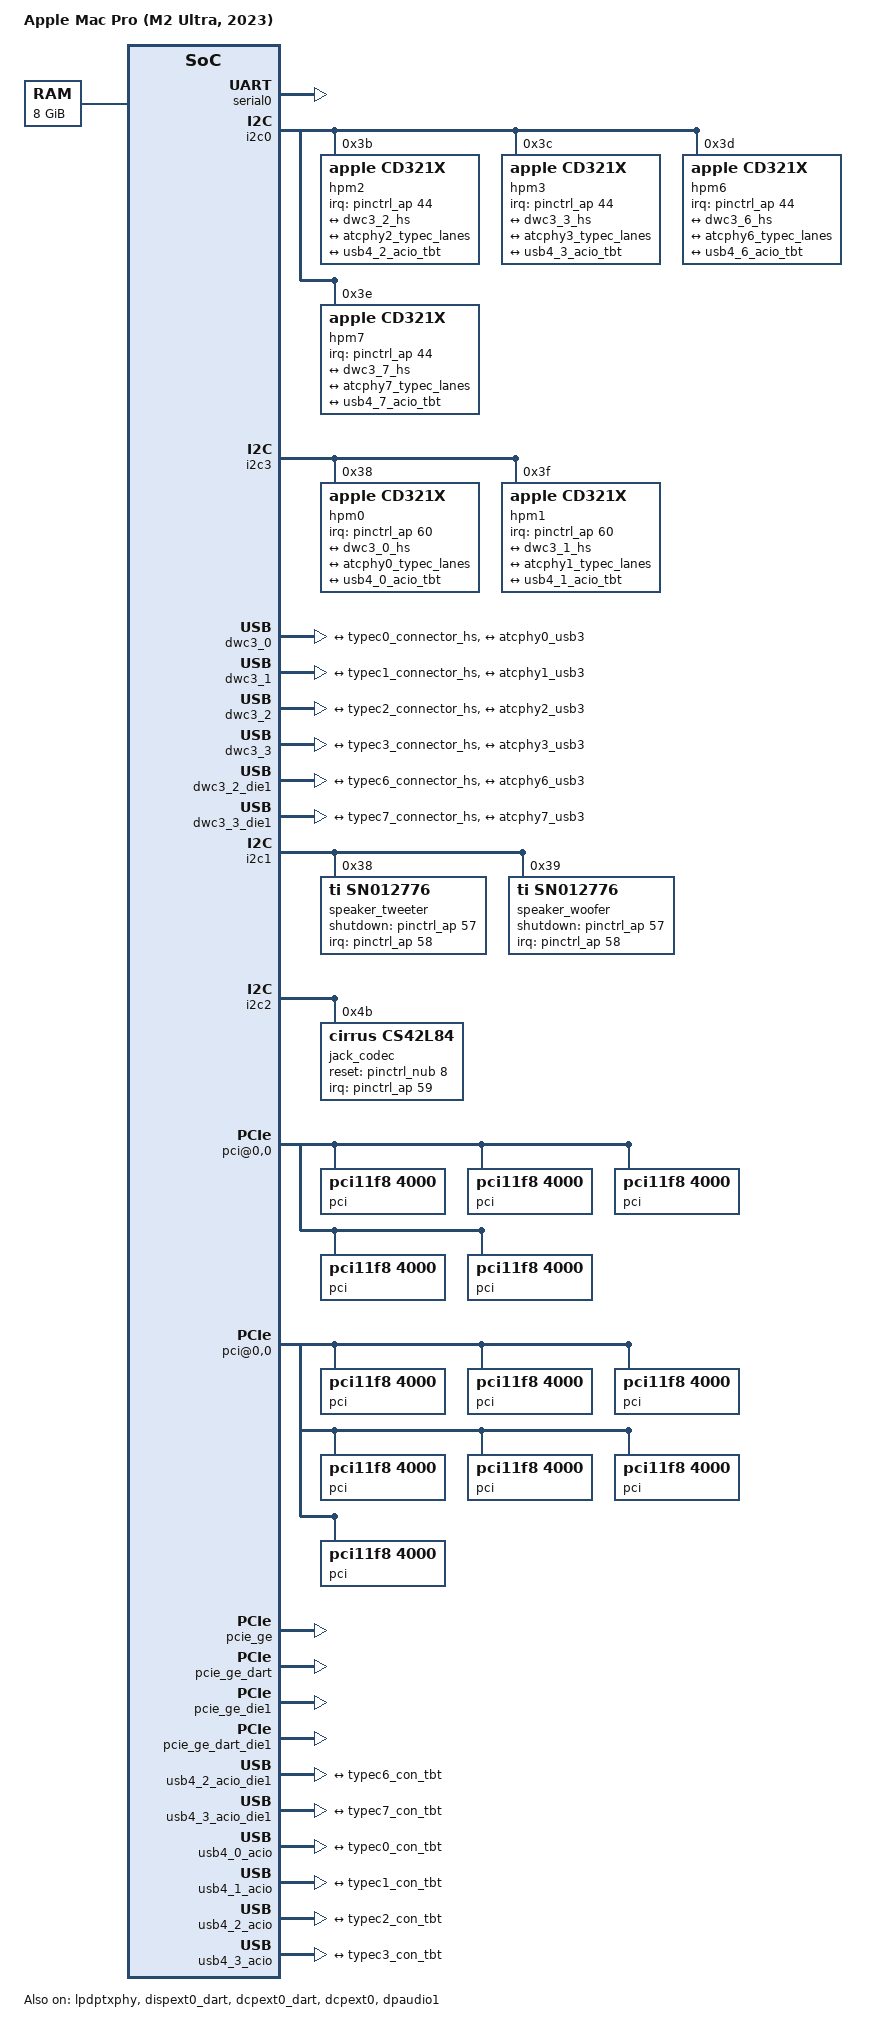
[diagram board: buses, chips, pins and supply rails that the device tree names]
// SPDX-License-Identifier: GPL-2.0+ OR MIT
/*
 * Mac Pro (M2 Ultra, 2023)
 *
 * target-type: J180d
 *
 * Copyright The Asahi Linux Contributors
 */

/dts-v1/;

#include "t6022.dtsi"
#include "t6022-jxxxd.dtsi"
#include "t6022-pcie-ge.dtsi"

/ {
	compatible = "apple,j180d", "apple,t6022", "apple,arm-platform";
	model = "Apple Mac Pro (M2 Ultra, 2023)";
	chassis-type = "server";

	aliases {
		atcphy0 = &atcphy0;
		atcphy1 = &atcphy1;
		atcphy2 = &atcphy2;
		atcphy3 = &atcphy3;
		atcphy4 = &atcphy0_die1;
		atcphy5 = &atcphy1_die1;
		atcphy6 = &atcphy2_die1;
		atcphy7 = &atcphy3_die1;
		bluetooth0 = &bluetooth0;
		dcpext0 = &dcpext0;
		ethernet0 = &ethernet0;
		ethernet1 = &ethernet1;
		nvram = &nvram;
		serial0 = &serial0;
		usb4-0-acio = &usb4_0_acio;
		usb4-0-nhi = &usb4_0_nhi;
		usb4-1-acio = &usb4_1_acio;
		usb4-1-nhi = &usb4_1_nhi;
		usb4-2-acio = &usb4_2_acio;
		usb4-2-nhi = &usb4_2_nhi;
		usb4-3-acio = &usb4_3_acio;
		usb4-3-nhi = &usb4_3_nhi;
		usb4-4-acio = &usb4_0_acio_die1;
		usb4-4-nhi = &usb4_0_nhi_die1;
		usb4-5-acio = &usb4_1_acio_die1;
		usb4-5-nhi = &usb4_1_nhi_die1;
		usb4-6-acio = &usb4_2_acio_die1;
		usb4-6-nhi = &usb4_2_nhi_die1;
		usb4-7-acio = &usb4_3_acio_die1;
		usb4-7-nhi = &usb4_3_nhi_die1;
		wifi0 = &wifi0;

		usb4_0_rc = &usb4_0_acio;
		usb4_0_nhi = &usb4_0_nhi;
		usb4_1_rc = &usb4_1_acio;
		usb4_1_nhi = &usb4_1_nhi;
		usb4_2_rc = &usb4_2_acio;
		usb4_2_nhi = &usb4_2_nhi;
		usb4_3_rc = &usb4_3_acio;
		usb4_3_nhi = &usb4_3_nhi;
		usb4_4_rc = &usb4_0_acio_die1;
		usb4_4_nhi = &usb4_0_nhi_die1;
		usb4_5_rc = &usb4_1_acio_die1;
		usb4_5_nhi = &usb4_1_nhi_die1;
		usb4_6_rc = &usb4_2_acio_die1;
		usb4_6_nhi = &usb4_2_nhi_die1;
		usb4_7_rc = &usb4_3_acio_die1;
		usb4_7_nhi = &usb4_3_nhi_die1;
	};

	chosen {
		#address-cells = <2>;
		#size-cells = <2>;
		ranges;

		stdout-path = "serial0";

		framebuffer0: framebuffer@0 {
			compatible = "apple,simple-framebuffer", "simple-framebuffer";
			reg = <0 0 0 0>; /* To be filled by loader */
			/* Format properties will be added by loader */
			status = "disabled";
			power-domains = <&ps_dispext0_cpu0_die1>, <&ps_dptx_phy_ps_die1>;
		};
	};

	reserved-memory {
		#address-cells = <2>;
		#size-cells = <2>;
		ranges;
		/* To be filled by loader */
	};

	memory@10000000000 {
		device_type = "memory";
		reg = <0x100 0 0x2 0>; /* To be filled by loader */
	};
};

&serial0 {
	status = "okay";
};

&lpdptxphy {
	status = "okay";
};

&display {
	iommus = <&dispext0_dart_die1 0 0x100 0x0 0x10 0x0>,
		<&dispext0_dart 0 0x100 0x0 0x10 0x0>;
};

&dispext0_dart {
	status = "okay";
};

&dcpext0_dart {
	status = "okay";
};

&dcpext0_mbox {
	status = "okay";
};

&dcpext0 {
	status = "okay";
	apple,connector-type = "HDMI-A";

	/*  HDMI HPD gpio, used as interrupt*/
	hdmi-hpd-gpios = <&pinctrl_aop 25 GPIO_ACTIVE_HIGH>;

	// shared between dp2hdmi-gpio0 / dp2hdmi-gpio1
	// hdmi-pwren-gpios = <&smc_gpio 23 GPIO_ACTIVE_HIGH>;

	phys = <&lpdptxphy>;
	phy-names = "dp-phy";
	apple,dptx-phy = <4>;
	apple,dptx-die = <0>;
};

&dpaudio1 {
	status = "okay";
};

/* USB Type C Rear */
&i2c0 {
	hpm2: usb-pd@3b {
		compatible = "apple,cd321x";
		reg = <0x3b>;
		interrupt-parent = <&pinctrl_ap>;
		interrupts = <44 IRQ_TYPE_LEVEL_LOW>;
		interrupt-names = "irq";

		typec2: connector {
			compatible = "usb-c-connector";
			label = "USB-C Back 1";
			power-role = "dual";
			data-role = "dual";

			ports {
				#address-cells = <1>;
				#size-cells = <0>;
				port@0 {
					reg = <0>;
					typec2_connector_hs: endpoint {
						remote-endpoint = <&dwc3_2_hs>;
					};
				};
				port@1 {
					reg = <1>;
					typec2_connector_ss: endpoint {
						remote-endpoint = <&atcphy2_typec_lanes>;
					};
				};
			};
		};
	};

	hpm3: usb-pd@3c {
		compatible = "apple,cd321x";
		reg = <0x3c>;
		interrupt-parent = <&pinctrl_ap>;
		interrupts = <44 IRQ_TYPE_LEVEL_LOW>;
		interrupt-names = "irq";

		typec3: connector {
			compatible = "usb-c-connector";
			label = "USB-C Back 2";
			power-role = "dual";
			data-role = "dual";

			ports {
				#address-cells = <1>;
				#size-cells = <0>;
				port@0 {
					reg = <0>;
					typec3_connector_hs: endpoint {
						remote-endpoint = <&dwc3_3_hs>;
					};
				};
				port@1 {
					reg = <1>;
					typec3_connector_ss: endpoint {
						remote-endpoint = <&atcphy3_typec_lanes>;
					};
				};
			};
		};
	};

	/* hpm4 and hpm5 included from t6022-jxxxd.dtsi */

	hpm6: usb-pd@3d {
		compatible = "apple,cd321x";
		reg = <0x3d>;
		interrupt-parent = <&pinctrl_ap>;
		interrupts = <44 IRQ_TYPE_LEVEL_LOW>;
		interrupt-names = "irq";

		typec6: connector {
			compatible = "usb-c-connector";
			label = "USB-C Back 5";
			power-role = "dual";
			data-role = "dual";

			ports {
				#address-cells = <1>;
				#size-cells = <0>;
				port@0 {
					reg = <0>;
					typec6_connector_hs: endpoint {
						remote-endpoint = <&dwc3_6_hs>;
					};
				};
				port@1 {
					reg = <1>;
					typec6_connector_ss: endpoint {
						remote-endpoint = <&atcphy6_typec_lanes>;
					};
				};

				port@2 {
					reg = <2>;
					typec6_con_tbt: endpoint {
						remote-endpoint = <&usb4_6_acio_tbt>;
					};
				};
			};
		};
	};

	hpm7: usb-pd@3e {
		compatible = "apple,cd321x";
		reg = <0x3e>;
		interrupt-parent = <&pinctrl_ap>;
		interrupts = <44 IRQ_TYPE_LEVEL_LOW>;
		interrupt-names = "irq";

		typec7: connector {
			compatible = "usb-c-connector";
			label = "USB-C Back 6";
			power-role = "dual";
			data-role = "dual";

			ports {
				#address-cells = <1>;
				#size-cells = <0>;
				port@0 {
					reg = <0>;
					typec7_connector_hs: endpoint {
						remote-endpoint = <&dwc3_7_hs>;
					};
				};
				port@1 {
					reg = <1>;
					typec7_connector_ss: endpoint {
						remote-endpoint = <&atcphy7_typec_lanes>;
					};
				};

				port@2 {
					reg = <2>;
					typec7_con_tbt: endpoint {
						remote-endpoint = <&usb4_7_acio_tbt>;
					};
				};
			};
		};
	};
};

&typec4 {
	label = "USB-C Back 3";
};

&typec5 {
	label = "USB-C Back 4";
};

/* USB Type C Front */
&i2c3 {
	status = "okay";

	hpm0: usb-pd@38 {
		compatible = "apple,cd321x";
		reg = <0x38>;
		interrupt-parent = <&pinctrl_ap>;
		interrupts = <60 IRQ_TYPE_LEVEL_LOW>;
		interrupt-names = "irq";

		typec0: connector {
			compatible = "usb-c-connector";
			label = "USB-C Top Right";
			power-role = "dual";
			data-role = "dual";

			ports {
				#address-cells = <1>;
				#size-cells = <0>;
				port@0 {
					reg = <0>;
					typec0_connector_hs: endpoint {
						remote-endpoint = <&dwc3_0_hs>;
					};
				};
				port@1 {
					reg = <1>;
					typec0_connector_ss: endpoint {
						remote-endpoint = <&atcphy0_typec_lanes>;
					};
				};
			};
		};
	};

	hpm1: usb-pd@3f {
		compatible = "apple,cd321x";
		reg = <0x3f>;
		interrupt-parent = <&pinctrl_ap>;
		interrupts = <60 IRQ_TYPE_LEVEL_LOW>;
		interrupt-names = "irq";

		typec1: connector {
			compatible = "usb-c-connector";
			label = "USB-C Top Left";
			power-role = "dual";
			data-role = "dual";

			ports {
				#address-cells = <1>;
				#size-cells = <0>;
				port@0 {
					reg = <0>;
					typec1_connector_hs: endpoint {
						remote-endpoint = <&dwc3_1_hs>;
					};
				};
				port@1 {
					reg = <1>;
					typec1_connector_ss: endpoint {
						remote-endpoint = <&atcphy1_typec_lanes>;
					};
				};
			};
		};
	};
};

/* USB controllers */
&dwc3_0 {
	ports {
		#address-cells = <1>;
		#size-cells = <0>;

		port@0 {
			reg = <0>;
			dwc3_0_hs: endpoint {
				remote-endpoint = <&typec0_connector_hs>;
			};
		};

		port@1 {
			reg = <1>;
			dwc3_0_ss: endpoint {
				remote-endpoint = <&atcphy0_usb3>;
			};
		};
	};
};

&dwc3_1 {
	ports {
		#address-cells = <1>;
		#size-cells = <0>;

		port@0 {
			reg = <0>;
			dwc3_1_hs: endpoint {
				remote-endpoint = <&typec1_connector_hs>;
			};
		};

		port@1 {
			reg = <1>;
			dwc3_1_ss: endpoint {
				remote-endpoint = <&atcphy1_usb3>;
			};
		};
	};
};

&dwc3_2 {
	ports {
		#address-cells = <1>;
		#size-cells = <0>;

		port@0 {
			reg = <0>;
			dwc3_2_hs: endpoint {
				remote-endpoint = <&typec2_connector_hs>;
			};
		};

		port@1 {
			reg = <1>;
			dwc3_2_ss: endpoint {
				remote-endpoint = <&atcphy2_usb3>;
			};
		};
	};
};

&dwc3_3 {
	ports {
		#address-cells = <1>;
		#size-cells = <0>;

		port@0 {
			reg = <0>;
			dwc3_3_hs: endpoint {
				remote-endpoint = <&typec3_connector_hs>;
			};
		};

		port@1 {
			reg = <1>;
			dwc3_3_ss: endpoint {
				remote-endpoint = <&atcphy3_usb3>;
			};
		};
	};
};

/* USB controllers on die 1 */
&dwc3_2_die1 {
	ports {
		#address-cells = <1>;
		#size-cells = <0>;

		port@0 {
			reg = <0>;
			dwc3_6_hs: endpoint {
				remote-endpoint = <&typec6_connector_hs>;
			};
		};

		port@1 {
			reg = <1>;
			dwc3_6_ss: endpoint {
				remote-endpoint = <&atcphy6_usb3>;
			};
		};
	};
};

&dwc3_3_die1 {
	ports {
		#address-cells = <1>;
		#size-cells = <0>;

		port@0 {
			reg = <0>;
			dwc3_7_hs: endpoint {
				remote-endpoint = <&typec7_connector_hs>;
			};
		};

		port@1 {
			reg = <1>;
			dwc3_7_ss: endpoint {
				remote-endpoint = <&atcphy7_usb3>;
			};
		};
	};
};

/* Type-C PHYs */
&atcphy0 {
	ports {
		#address-cells = <1>;
		#size-cells = <0>;

		port@0 {
			reg = <0>;
			atcphy0_typec_lanes: endpoint {
				remote-endpoint = <&typec0_connector_ss>;
			};
		};

		port@1 {
			reg = <1>;
			atcphy0_usb3: endpoint {
				remote-endpoint = <&dwc3_0_ss>;
			};
		};
	};
};

&atcphy1 {
	ports {
		#address-cells = <1>;
		#size-cells = <0>;

		port@0 {
			reg = <0>;
			atcphy1_typec_lanes: endpoint {
				remote-endpoint = <&typec1_connector_ss>;
			};
		};

		port@1 {
			reg = <1>;
			atcphy1_usb3: endpoint {
				remote-endpoint = <&dwc3_1_ss>;
			};
		};
	};
};

&atcphy2 {
	ports {
		#address-cells = <1>;
		#size-cells = <0>;

		port@0 {
			reg = <0>;
			atcphy2_typec_lanes: endpoint {
				remote-endpoint = <&typec2_connector_ss>;
			};
		};

		port@1 {
			reg = <1>;
			atcphy2_usb3: endpoint {
				remote-endpoint = <&dwc3_2_ss>;
			};
		};
	};
};

&atcphy3 {
	ports {
		#address-cells = <1>;
		#size-cells = <0>;

		port@0 {
			reg = <0>;
			atcphy3_typec_lanes: endpoint {
				remote-endpoint = <&typec3_connector_ss>;
			};
		};

		port@1 {
			reg = <1>;
			atcphy3_usb3: endpoint {
				remote-endpoint = <&dwc3_3_ss>;
			};
		};
	};
};

&atcphy2_die1 {
	ports {
		#address-cells = <1>;
		#size-cells = <0>;

		port@0 {
			reg = <0>;
			atcphy6_typec_lanes: endpoint {
				remote-endpoint = <&typec6_connector_ss>;
			};
		};

		port@1 {
			reg = <1>;
			atcphy6_usb3: endpoint {
				remote-endpoint = <&dwc3_6_ss>;
			};
		};
	};
};

&atcphy3_die1 {
	ports {
		#address-cells = <1>;
		#size-cells = <0>;

		port@0 {
			reg = <0>;
			atcphy7_typec_lanes: endpoint {
				remote-endpoint = <&typec7_connector_ss>;
			};
		};

		port@1 {
			reg = <1>;
			atcphy7_usb3: endpoint {
				remote-endpoint = <&dwc3_7_ss>;
			};
		};
	};
};

/* Audio */
&i2c1 {
	status = "okay";

	speaker_tweeter: codec@38 {
		compatible = "ti,sn012776", "ti,tas2764";
		reg = <0x38>;
		shutdown-gpios = <&pinctrl_ap 57 GPIO_ACTIVE_HIGH>;
		#sound-dai-cells = <0>;
		sound-name-prefix = "Tweeter";
		interrupts-extended = <&pinctrl_ap 58 IRQ_TYPE_LEVEL_LOW>;
		ti,imon-slot-no = <4>;
		ti,vmon-slot-no = <6>;
	};

	speaker_woofer: codec@39 {
		compatible = "ti,sn012776", "ti,tas2764";
		reg = <0x39>;
		shutdown-gpios = <&pinctrl_ap 57 GPIO_ACTIVE_HIGH>;
		#sound-dai-cells = <0>;
		sound-name-prefix = "Woofer";
		interrupts-extended = <&pinctrl_ap 58 IRQ_TYPE_LEVEL_LOW>;
		ti,imon-slot-no = <0>;
		ti,vmon-slot-no = <2>;
	};
};

&i2c2 {
	status = "okay";

	jack_codec: codec@4b {
		compatible = "cirrus,cs42l84";
		reg = <0x4b>;
		reset-gpios = <&pinctrl_nub 8 GPIO_ACTIVE_HIGH>;
		#sound-dai-cells = <0>;
		interrupts-extended = <&pinctrl_ap 59 IRQ_TYPE_LEVEL_LOW>;
		sound-name-prefix = "Jack";
	};
};

&nco_clkref {
	clock-frequency = <1068000000>;
};

/ {
	sound: sound {
		compatible = "apple,j180-macaudio", "apple,macaudio";
		model = "Mac Pro J180";

		dai-link@0 {
			link-name = "Speakers";
			/*
			* DANGER ZONE: You can blow your speakers!
			*
			* The drivers are not ready, and unless you are careful
			* to attenuate the audio stream, you run the risk of
			* blowing your speakers.
			*/
			status = "disabled";
			cpu {
				sound-dai = <&mca 0>;
			};
			codec {
				sound-dai = <&speaker_woofer>, <&speaker_tweeter>;
			};
		};

		dai-link@1 {
			link-name = "Headphone Jack";

			cpu {
				sound-dai = <&mca 2>;
			};
			codec {
				sound-dai = <&jack_codec>;
			};
		};
	};
};

/* PCIe devices */
&port_ge00 {
	bus-range = <0x01 0x09>;

	pci@0,0 {
		// compatible = "pci11f8,4000", "pciclass,060400", "pciclass,0604";
		device_type = "pci";
		reg = <0x10000 0x00 0x00 0x00 0x00>;
		bus-range = <0x02 0x07>;

		#address-cells = <0x03>;
		#size-cells = <0x02>;
		ranges = <0x82010000 0x00 0x80000000 0x82010000 0x00 0x80000000 0x00 0x500000>,
			 <0xc3010000 0x18 0x00000000 0xc3010000 0x18 0x00000000 0x00 0x500000>;

		#interrupt-cells = <0x01>;
		interrupt-map-mask = <0xffff00 0x00 0x00 0x07>;
		interrupt-map = <0x20000 0x00 0x00 0x01 &port_ge00 0x00 0x00 0x00 0x00>,
				<0x20000 0x00 0x00 0x02 &port_ge00 0x00 0x00 0x00 0x01>,
				<0x20000 0x00 0x00 0x03 &port_ge00 0x00 0x00 0x00 0x02>,
				<0x20000 0x00 0x00 0x04 &port_ge00 0x00 0x00 0x00 0x03>,
				<0x20800 0x00 0x00 0x01 &port_ge00 0x00 0x00 0x00 0x01>,
				<0x20800 0x00 0x00 0x02 &port_ge00 0x00 0x00 0x00 0x02>,
				<0x20800 0x00 0x00 0x03 &port_ge00 0x00 0x00 0x00 0x03>,
				<0x20800 0x00 0x00 0x04 &port_ge00 0x00 0x00 0x00 0x00>,
				<0x21000 0x00 0x00 0x01 &port_ge00 0x00 0x00 0x00 0x02>,
				<0x21000 0x00 0x00 0x02 &port_ge00 0x00 0x00 0x00 0x03>,
				<0x21000 0x00 0x00 0x03 &port_ge00 0x00 0x00 0x00 0x00>,
				<0x21000 0x00 0x00 0x04 &port_ge00 0x00 0x00 0x00 0x01>,
				<0x21800 0x00 0x00 0x01 &port_ge00 0x00 0x00 0x00 0x03>,
				<0x21800 0x00 0x00 0x02 &port_ge00 0x00 0x00 0x00 0x00>,
				<0x21800 0x00 0x00 0x03 &port_ge00 0x00 0x00 0x00 0x01>,
				<0x21800 0x00 0x00 0x04 &port_ge00 0x00 0x00 0x00 0x02>,
				<0x22000 0x00 0x00 0x01 &port_ge00 0x00 0x00 0x00 0x00>,
				<0x22000 0x00 0x00 0x02 &port_ge00 0x00 0x00 0x00 0x01>,
				<0x22000 0x00 0x00 0x03 &port_ge00 0x00 0x00 0x00 0x02>,
				<0x22000 0x00 0x00 0x04 &port_ge00 0x00 0x00 0x00 0x03>;

		/* pci-slot1-dsp, PCIe slot-1 */
		pci@0,0 {
			compatible = "pci11f8,4000", "pciclass,060400", "pciclass,0604";
			device_type = "pci";
			reg = <0x20000 0x00 0x00 0x00 0x00>;
			bus-range = <0x03 0x03>;

			#address-cells = <0x03>;
			#size-cells = <0x02>;
			ranges;
		};

		/* pci-slot2-dsp, PCIe slot-2 */
		pci@1,0 {
			compatible = "pci11f8,4000", "pciclass,060400", "pciclass,0604";
			device_type = "pci";
			reg = <0x20800 0x00 0x00 0x00 0x00>;
			bus-range = <0x04 0x04>;

			#address-cells = <0x03>;
			#size-cells = <0x02>;
			ranges;
		};

		/* pci-slot3-dsp, PCIe slot-3 */
		pci@2,0 {
			compatible = "pci11f8,4000", "pciclass,060400", "pciclass,0604";
			device_type = "pci";
			reg = <0x21000 0x00 0x00 0x00 0x00>;
			bus-range = <0x05 0x05>;

			#address-cells = <0x03>;
			#size-cells = <0x02>;
			ranges;
		};

		/* pci-slot4-dsp, PCIe slot-4 */
		pci@3,0 {
			compatible = "pci11f8,4000", "pciclass,060400", "pciclass,0604";
			device_type = "pci";
			reg = <0x21800 0x00 0x00 0x00 0x00>;
			bus-range = <0x06 0x06>;

			#address-cells = <0x03>;
			#size-cells = <0x02>;
			ranges;
		};

		/* pci-slot5-dsp, PCIe slot-5 */
		pci@4,0 {
			compatible = "pci11f8,4000", "pciclass,060400", "pciclass,0604";
			device_type = "pci";
			reg = <0x22000 0x00 0x00 0x00 0x00>;
			bus-range = <0x07 0x07>;

			#address-cells = <0x03>;
			#size-cells = <0x02>;
			ranges;
		};

	};
};

&port_ge00_die1 {
	bus-range = <0x01 0x09>;

	/*
	 * Add mulptiple "reset-gpios" since there is no mechanismen to access
	 * PERST# for devices behind the PCIe switch.
	 * The "pwren" GPIO is from the wifi/bt chip which faces the same
	 * problem without pci-pwrctrl integration.
	 */
	reset-gpios = <&pinctrl_ap 4 GPIO_ACTIVE_LOW>,
		<&pinctrl_ap 6 GPIO_ACTIVE_LOW>,
		<&pinctrl_ap 7 GPIO_ACTIVE_LOW>,
		<&pinctrl_ap_die1 9 GPIO_ACTIVE_LOW>;
	pwren-gpios = <&smc_gpio 13 GPIO_ACTIVE_HIGH>;

	pci@0,0 {
		device_type = "pci";
		reg = <0x10000 0x00 0x00 0x00 0x00>;
		bus-range = <0x02 0x09>;

		#address-cells = <3>;
		#size-cells = <2>;
		ranges;

		interrupt-controller;
		#interrupt-cells = <1>;
		interrupt-map-mask = <0xffff00 0x00 0x00 0x07>;
		interrupt-map = <0x20000 0x00 0x00 0x01 &port_ge00_die1 0x00 0x00 0x00 0x00>,
				<0x20000 0x00 0x00 0x02 &port_ge00_die1 0x00 0x00 0x00 0x01>,
				<0x20000 0x00 0x00 0x03 &port_ge00_die1 0x00 0x00 0x00 0x02>,
				<0x20000 0x00 0x00 0x04 &port_ge00_die1 0x00 0x00 0x00 0x03>,
				<0x20800 0x00 0x00 0x01 &port_ge00_die1 0x00 0x00 0x00 0x01>,
				<0x20800 0x00 0x00 0x02 &port_ge00_die1 0x00 0x00 0x00 0x02>,
				<0x20800 0x00 0x00 0x03 &port_ge00_die1 0x00 0x00 0x00 0x03>,
				<0x20800 0x00 0x00 0x04 &port_ge00_die1 0x00 0x00 0x00 0x00>,
				<0x21000 0x00 0x00 0x01 &port_ge00_die1 0x00 0x00 0x00 0x02>,
				<0x21000 0x00 0x00 0x02 &port_ge00_die1 0x00 0x00 0x00 0x03>,
				<0x21000 0x00 0x00 0x03 &port_ge00_die1 0x00 0x00 0x00 0x00>,
				<0x21000 0x00 0x00 0x04 &port_ge00_die1 0x00 0x00 0x00 0x01>,
				<0x21800 0x00 0x00 0x01 &port_ge00_die1 0x00 0x00 0x00 0x03>,
				<0x21800 0x00 0x00 0x02 &port_ge00_die1 0x00 0x00 0x00 0x00>,
				<0x21800 0x00 0x00 0x03 &port_ge00_die1 0x00 0x00 0x00 0x01>,
				<0x21800 0x00 0x00 0x04 &port_ge00_die1 0x00 0x00 0x00 0x02>,
				<0x22000 0x00 0x00 0x01 &port_ge00_die1 0x00 0x00 0x00 0x00>,
				<0x22000 0x00 0x00 0x02 &port_ge00_die1 0x00 0x00 0x00 0x01>,
				<0x22000 0x00 0x00 0x03 &port_ge00_die1 0x00 0x00 0x00 0x02>,
				<0x22000 0x00 0x00 0x04 &port_ge00_die1 0x00 0x00 0x00 0x03>,
				<0x22800 0x00 0x00 0x01 &port_ge00_die1 0x00 0x00 0x00 0x01>,
				<0x22800 0x00 0x00 0x02 &port_ge00_die1 0x00 0x00 0x00 0x02>,
				<0x22800 0x00 0x00 0x03 &port_ge00_die1 0x00 0x00 0x00 0x03>,
				<0x22800 0x00 0x00 0x04 &port_ge00_die1 0x00 0x00 0x00 0x00>,
				<0x23000 0x00 0x00 0x01 &port_ge00_die1 0x00 0x00 0x00 0x02>,
				<0x23000 0x00 0x00 0x02 &port_ge00_die1 0x00 0x00 0x00 0x03>,
				<0x23000 0x00 0x00 0x03 &port_ge00_die1 0x00 0x00 0x00 0x00>,
				<0x23000 0x00 0x00 0x04 &port_ge00_die1 0x00 0x00 0x00 0x01>;

		/* pci-usba-dsp, internal USB-A port */
		pci@0,0 {
			compatible = "pci11f8,4000", "pciclass,060400", "pciclass,0604";
			device_type = "pci";
			reg = <0x20000 0x00 0x00 0x00 0x00>;
			bus-range = <0x03 0x03>;

			#address-cells = <3>;
			#size-cells = <2>;
			ranges;

			interrupt-controller;
			#interrupt-cells = <1>;
			interrupt-map-mask = <0 0 0 7>;
			interrupt-map = <0x30000 0x00 0x00 0x02 &port_ge00_die1 0x00 0x00 0x00 0x00>,
					<0x30000 0x00 0x00 0x03 &port_ge00_die1 0x00 0x00 0x00 0x01>,
					<0x30000 0x00 0x00 0x04 &port_ge00_die1 0x00 0x00 0x00 0x02>;

			/* temporarily handled in the root port */
			// reset-gpios = <&pinctrl_ap 6 GPIO_ACTIVE_LOW>;
		};

		/* pci-sata-dsp, internal AHCI controller */
		pci@1,0 {
			compatible = "pci11f8,4000", "pciclass,060400", "pciclass,0604";
			device_type = "pci";
			reg = <0x20800 0x00 0x00 0x00 0x00>;
			bus-range = <0x04 0x04>;

			#address-cells = <3>;
			#size-cells = <2>;
			ranges;

			interrupt-controller;
			#interrupt-cells = <1>;
			interrupt-map-mask = <0 0 0 7>;
			interrupt-map = <0x40000 0x00 0x00 0x01 &port_ge00_die1 0x00 0x00 0x00 0x00>,
					<0x40000 0x00 0x00 0x02 &port_ge00_die1 0x00 0x00 0x00 0x01>,
					<0x40000 0x00 0x00 0x03 &port_ge00_die1 0x00 0x00 0x00 0x02>;
		};

		/* pci-bio-dsp, I/O board USB-A ports */
		pci@2,0 {
			compatible = "pci11f8,4000", "pciclass,060400", "pciclass,0604";
			device_type = "pci";
			reg = <0x21000 0x00 0x00 0x00 0x00>;
			bus-range = <0x05 0x05>;

			#address-cells = <3>;
			#size-cells = <2>;
			ranges;

			interrupt-controller;
			#interrupt-cells = <1>;
			interrupt-map-mask = <0 0 0 7>;
			interrupt-map = <0x50000 0x00 0x00 0x01 &port_ge00_die1 0x00 0x00 0x00 0x01>,
					<0x50000 0x00 0x00 0x02 &port_ge00_die1 0x00 0x00 0x00 0x02>,
					<0x50000 0x00 0x00 0x04 &port_ge00_die1 0x00 0x00 0x00 0x00>;

			/* temporarily handled in the root port */
			// reset-gpios = <&pinctrl_ap 7 GPIO_ACTIVE_LOW>;
		};

		/* pci-lan-dsp, Qtion AQC113 10G etherner controller (0) */
		pci@3,0 {
			compatible = "pci11f8,4000", "pciclass,060400", "pciclass,0604";
			device_type = "pci";
			reg = <0x21800 0x00 0x00 0x00 0x00>;
			bus-range = <0x06 0x06>;

			#address-cells = <3>;
			#size-cells = <2>;
			ranges;

			interrupt-controller;
			#interrupt-cells = <1>;
			interrupt-map-mask = <0 0 0 7>;
			interrupt-map = <0x60000 0x00 0x00 0x01 &port_ge00_die1 0x00 0x00 0x00 0x02>,
					<0x60000 0x00 0x00 0x03 &port_ge00_die1 0x00 0x00 0x00 0x00>,
					<0x60000 0x00 0x00 0x04 &port_ge00_die1 0x00 0x00 0x00 0x01>;

			ethernet0: ethernet@0,0 {
				reg = <0x60000 0x0 0x0 0x0 0x0>;
				/* To be filled by the loader */
				local-mac-address = [00 10 18 00 00 00];
			};
		};

		/* pci-lan-b-dsp, Qtion AQC113 10G etherner controller (1) */
		pci@4,0 {
			compatible = "pci11f8,4000", "pciclass,060400", "pciclass,0604";
			device_type = "pci";
			reg = <0x22000 0x00 0x00 0x00 0x00>;
			bus-range = <0x07 0x07>;

			#address-cells = <3>;
			#size-cells = <2>;
			ranges;

			interrupt-controller;
			#interrupt-cells = <1>;
			interrupt-map-mask = <0 0 0 7>;
			interrupt-map = <0x70000 0x00 0x00 0x02 &port_ge00_die1 0x00 0x00 0x00 0x00>,
					<0x70000 0x00 0x00 0x03 &port_ge00_die1 0x00 0x00 0x00 0x01>,
					<0x70000 0x00 0x00 0x04 &port_ge00_die1 0x00 0x00 0x00 0x02>;

			ethernet1: ethernet@0,0 {
				reg = <0x70000 0x0 0x0 0x0 0x0>;
				/* To be filled by the loader */
				local-mac-address = [00 10 18 00 00 00];
			};
		};

		/* pci-wifibt-dsp, Broadcom BCM4388 Wlan/BT */
		pci@5,0 {
			compatible = "pci11f8,4000", "pciclass,060400", "pciclass,0604";
			device_type = "pci";
			reg = <0x22800 0x00 0x00 0x00 0x00>;
			bus-range = <0x08 0x08>;

			#address-cells = <3>;
			#size-cells = <2>;
			ranges;

			interrupt-controller;
			#interrupt-cells = <1>;
			interrupt-map-mask = <0 0 0 7>;
			interrupt-map = <0x80000 0x00 0x00 0x01 &port_ge00_die1 0x00 0x00 0x00 0x00>,
					<0x80000 0x00 0x00 0x02 &port_ge00_die1 0x00 0x00 0x00 0x01>,
					<0x80000 0x00 0x00 0x03 &port_ge00_die1 0x00 0x00 0x00 0x02>,
					<0x80100 0x00 0x00 0x01 &port_ge00_die1 0x00 0x00 0x00 0x00>,
					<0x80100 0x00 0x00 0x02 &port_ge00_die1 0x00 0x00 0x00 0x01>,
					<0x80100 0x00 0x00 0x03 &port_ge00_die1 0x00 0x00 0x00 0x02>;

			/* temporarily handled in the root port */
			// reset-gpios = <&pinctrl_ap 4 GPIO_ACTIVE_LOW>;
			// pwren-gpios = <&smc_gpio 13 GPIO_ACTIVE_HIGH>;

			wifi0: wifi@0,0 {
				reg = <0x80000 0x0 0x0 0x0 0x0>;
				compatible = "pci14e4,4433";
				brcm,board-type = "apple,sumatra";
				apple,antenna-sku = "XX";
				/* To be filled by the loader */
				local-mac-address = [00 10 18 00 00 10];
			};

			bluetooth0: network@0,1 {
				compatible = "pci14e4,5f71";
				brcm,board-type = "apple,sumatra";
				reg = <0x80100 0x0 0x0 0x0 0x0>;
				/* To be filled by the loader */
				local-bd-address = [00 00 00 00 00 00];
			};
		};

		/* pci-slot6-dsp, PCIe slot-6 */
		pci@6,0 {
			compatible = "pci11f8,4000", "pciclass,060400", "pciclass,0604";
			device_type = "pci";
			reg = <0x23000 0x00 0x00 0x00 0x00>;
			bus-range = <0x09 0x09>;

			#address-cells = <3>;
			#size-cells = <2>;
			ranges;
		};
	};
};

&pcie_ge {
	status = "ok";
};

&pcie_ge_dart {
	status = "ok";
};

&pcie_ge_die1 {
	status = "ok";
};

&pcie_ge_dart_die1 {
	status = "ok";
};

/*
 * Delete unused PCIe nodes, the Mac Pro uses slightly different PCIe
 * controllers with a single port connected to a PM40100 PCIe switch
 */
/delete-node/ &pcie0;
/delete-node/ &pcie0_dart_0;
/delete-node/ &pcie0_dart_1;
/delete-node/ &pcie0_dart_2;
/delete-node/ &pcie0_dart_3;

&nco_clkref {
	clock-frequency = <1068000000>;
};

/* USB4 on die 1 */
&usb4_2_acio_die1 {
	ports {
		#address-cells = <1>;
		#size-cells = <0>;

		/* 1: USB4 port */
		port@1 {
			reg = <1>;
			usb4_6_acio_tbt: endpoint {
				remote-endpoint = <&typec6_con_tbt>;
			};
		};

		/* 2: unused(?) USB4 port */
		/* 3: PCIe */
		/* 4: USB3 */
		/* 5: DP0 */
		/* 6: DP1 */
	};
};

&usb4_3_acio_die1 {
	ports {
		#address-cells = <1>;
		#size-cells = <0>;

		/* 1: USB4 port */
		port@1 {
			reg = <1>;
			usb4_7_acio_tbt: endpoint {
				remote-endpoint = <&typec7_con_tbt>;
			};
		};

		/* 2: unused(?) USB4 port */
		/* 3: PCIe */
		/* 4: USB3 */
		/* 5: DP0 */
		/* 6: DP1 */
	};
};

&typec0 {
	ports {
		port@2 {
			reg = <2>;
			typec0_con_tbt: endpoint {
				remote-endpoint = <&usb4_0_acio_tbt>;
			};
		};
	};
};

&typec1 {
	ports {
		port@2 {
			reg = <2>;
			typec1_con_tbt: endpoint {
				remote-endpoint = <&usb4_1_acio_tbt>;
			};
		};
	};
};

&typec2 {
	ports {
		port@2 {
			reg = <2>;
			typec2_con_tbt: endpoint {
				remote-endpoint = <&usb4_2_acio_tbt>;
			};
		};
	};
};

&typec3 {
	ports {
		port@2 {
			reg = <2>;
			typec3_con_tbt: endpoint {
				remote-endpoint = <&usb4_3_acio_tbt>;
			};
		};
	};
};

/* USB4 */
&usb4_0_acio {
	ports {
		#address-cells = <1>;
		#size-cells = <0>;

		/* 1: USB4 port */
		port@1 {
			reg = <1>;
			usb4_0_acio_tbt: endpoint {
				remote-endpoint = <&typec0_con_tbt>;
			};
		};

		/* 2: unused(?) USB4 port */
		/* 3: PCIe */
		/* 4: USB3 */
		/* 5: DP0 */
		/* 6: DP1 */
	};
};

&usb4_1_acio {
	ports {
		#address-cells = <1>;
		#size-cells = <0>;

		/* 1: USB4 port */
		port@1 {
			reg = <1>;
			usb4_1_acio_tbt: endpoint {
				remote-endpoint = <&typec1_con_tbt>;
			};
		};

		/* 2: unused(?) USB4 port */
		/* 3: PCIe */
		/* 4: USB3 */
		/* 5: DP0 */
		/* 6: DP1 */
	};
};

&usb4_2_acio {
	ports {
		#address-cells = <1>;
		#size-cells = <0>;

		/* 1: USB4 port */
		port@1 {
			reg = <1>;
			usb4_2_acio_tbt: endpoint {
				remote-endpoint = <&typec2_con_tbt>;
			};
		};

		/* 2: unused(?) USB4 port */
		/* 3: PCIe */
		/* 4: USB3 */
		/* 5: DP0 */
		/* 6: DP1 */
	};
};

&usb4_3_acio {
	ports {
		#address-cells = <1>;
		#size-cells = <0>;

		/* 1: USB4 port */
		port@1 {
			reg = <1>;
			usb4_3_acio_tbt: endpoint {
				remote-endpoint = <&typec3_con_tbt>;
			};
		};

		/* 2: unused(?) USB4 port */
		/* 3: PCIe */
		/* 4: USB3 */
		/* 5: DP0 */
		/* 6: DP1 */
	};
};

#include "spi1-nvram.dtsi"
